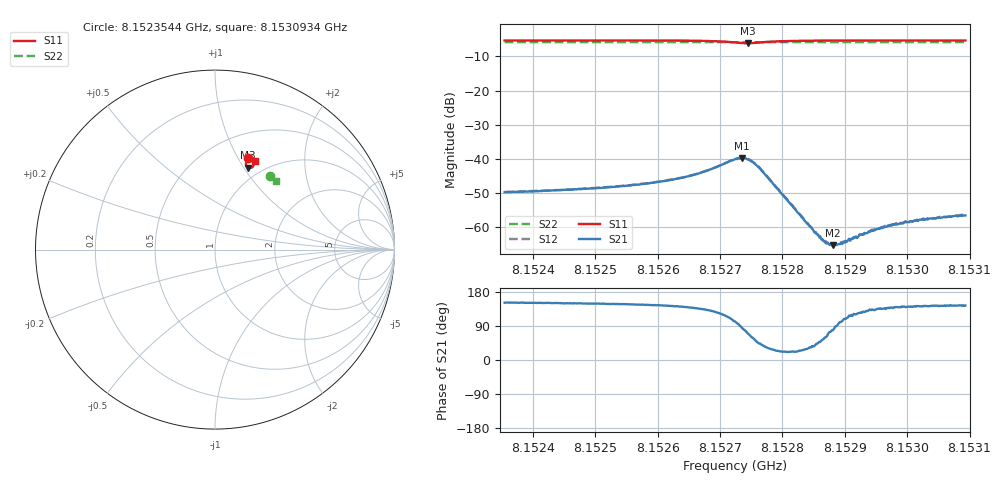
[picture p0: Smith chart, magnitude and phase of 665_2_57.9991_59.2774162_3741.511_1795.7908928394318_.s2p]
#  HZ  S  RI  R  50.00
! Rohde & Schwarz Vector Network Analyzer
! Rohde-Schwarz,ZNB20-2Port,1311601062101988,3.16
! Created: UTC 3/21/2024, 1:20:07 AM
! freq[Hz]  re:S11  im:S11  re:S21  im:S21  re:S12  im:S12  re:S22  im:S22
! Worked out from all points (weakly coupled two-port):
!   401 points, 8.1523544 GHz to 8.1530934 GHz, reference 50 ohm
!   highest |S21| = -39.70 dB at 8.152735 GHz (marker M1); lowest = -65.3 dB at 8.1528809 GHz (marker M2)
!   lowest |S11| = -6.1 dB at 8.1527442 GHz (marker M3), VSWR 2.94, Z = 43.4 + j52.3 ohm
!   |S11| at or under -10 dB: nowhere
!   |S22| runs from -5.9 to -5.8 dB; largest |S21 - S12| = 0.00026
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8.15235439e9  0.1811 0.5094  -0.00285 0.00157  -0.00286 0.00161  0.3045 0.411
8.15247817e9  0.191 0.5056  -0.00311 0.00185  -0.00312 0.00191  0.3107 0.4062
8.1525262e9  0.1952 0.5038  -0.00328 0.00206  -0.00328 0.0021  0.3132 0.4041
8.15260195e9  0.203 0.4996  -0.00375 0.00267  -0.00373 0.00273  0.3171 0.4009
8.15266477e9  0.2119 0.4912  -0.00438 0.00422  -0.00436 0.00433  0.3202 0.398
8.15272389e9  0.2093 0.4608  -0.002 0.00969  -0.00191 0.00976  0.3224 0.3948
8.15273497e9  0.1972 0.455  0.000923 0.0103  0.000867 0.0103  0.3223 0.3943
8.15274421e9  0.1847 0.4568  0.00331 0.00923  0.00335 0.00942  0.3224 0.3942
8.15275529e9  0.1742 0.4669  0.00501 0.00689  0.00518 0.00696  0.3227 0.3944
8.15276453e9  0.1719 0.4769  0.00526 0.0049  0.00534 0.00481  0.323 0.3943
8.15284767e9  0.1949 0.4999  0.000763 0.00057  0.000807 0.000506  0.3281 0.3915
8.1528606e9  0.1973 0.5  0.000491 0.000546  0.000477 0.00046  0.3287 0.3909
8.15286614e9  0.1981 0.5  0.000356 0.000519  0.000354 0.000533  0.3292 0.3907
8.15287169e9  0.199 0.4999  0.000264 0.000538  0.000255 0.00052  0.3294 0.3904
8.15288092e9  0.2004 0.4998  0.000109 0.000534  8.9e-05 0.000521  0.33 0.3901
8.15289016e9  0.2017 0.4996  -6.92e-05 0.000563  -3.85e-05 0.000541  0.3305 0.3895
8.1528957e9  0.2023 0.4996  -0.000123 0.000554  -0.000123 0.000595  0.3306 0.3894
8.15292711e9  0.2061 0.4989  -0.000448 0.000651  -0.00047 0.000627  0.3322 0.3882
8.15296406e9  0.2098 0.4979  -0.000735 0.000687  -0.00076 0.000719  0.3341 0.3866
8.15297145e9  0.2106 0.4975  -0.000765 0.00072  -0.00076 0.000714  0.3342 0.3861
8.15301949e9  0.2147 0.4963  -0.00101 0.000795  -0.000997 0.000772  0.3367 0.3841
8.15309339e9  0.2207 0.4941  -0.0012 0.00088  -0.00125 0.000902  0.3402 0.3809
